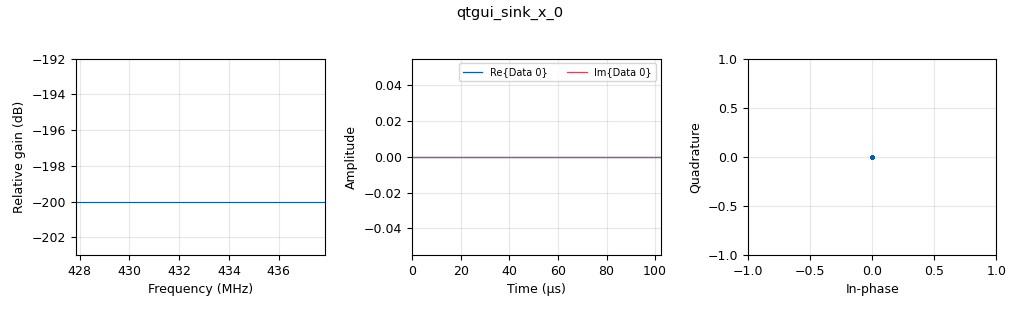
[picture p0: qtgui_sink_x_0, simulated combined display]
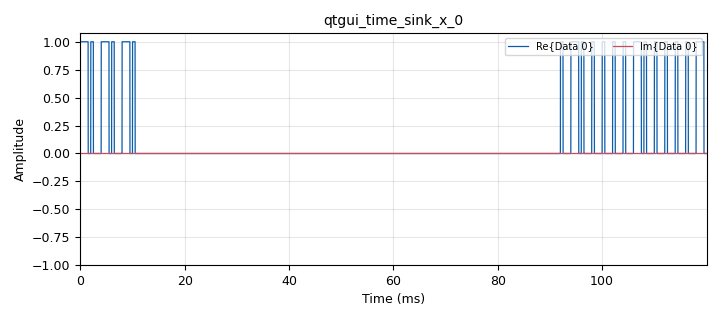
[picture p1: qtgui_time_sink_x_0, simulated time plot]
options:
  parameters:
    category: Custom
    generate_options: qt_gui
    id: transmit
    output_language: python
  states: {}

blocks:
- name: baseband_freq
  id: variable
  parameters:
    value: '500'
  states: {}
- name: carrier_freq
  id: variable
  parameters:
    value: 432.867e6
  states: {}
- name: packet
  id: variable
  parameters:
    value: '"0100000100000101000101010"'
  states: {}
- name: samp_rate
  id: variable
  parameters:
    value: 10e6
  states: {}
- name: samples_per_symbol
  id: variable
  parameters:
    value: int (samp_rate / baseband_freq)
  states: {}
- name: spacing
  id: variable
  parameters:
    value: '40'
  states: {}
- name: blocks_float_to_complex_0
  id: blocks_float_to_complex
  parameters: {}
  states: {}
- name: blocks_moving_average_xx_0
  id: blocks_moving_average_xx
  parameters:
    length: int(samples_per_symbol / 4)
    max_iter: '4000'
    scale: '1'
    type: float
  states: {}
- name: blocks_multiply_const_vxx_0
  id: blocks_multiply_const_vxx
  parameters:
    const: '1'
    type: float
  states: {}
- name: blocks_throttle_0
  id: blocks_throttle
  parameters:
    samples_per_second: samp_rate
    type: complex
  states: {}
- name: blocks_uchar_to_float_0
  id: blocks_uchar_to_float
  parameters: {}
  states: {}
- name: blocks_unpack_k_bits_bb_0
  id: blocks_unpack_k_bits_bb
  parameters:
    k: '4'
  states: {}
- name: blocks_vector_source_x_0
  id: blocks_vector_source_x
  parameters:
    repeat: 'True'
    type: byte
    vector: '[ int (x) for x in packet ] + [ 2 ] * spacing'
  states: {}
- name: digital_map_bb_0
  id: digital_map_bb
  parameters:
    map: '[0x8, 0xE, 0x0]'
  states: {}
- name: osmosdr_sink_0
  id: osmosdr_sink
  parameters:
    args: hackrf=0
    bb_gain0: '20'
    freq0: carrier_freq
    gain0: '10'
    if_gain0: '20'
    sample_rate: samp_rate
    sync: sync
    type: fc32
  states: {}
- name: qtgui_sink_x_0
  id: qtgui_sink_x
  parameters:
    bw: samp_rate
    fc: carrier_freq
    fftsize: '1024'
    showports: 'True'
    showrf: 'True'
    type: complex
    wintype: firdes.WIN_BLACKMAN_hARRIS
  states: {}
- name: qtgui_time_sink_x_0
  id: qtgui_time_sink_x
  parameters:
    ctrlpanel: 'True'
    label1: ''
    label2: ''
    size: '1200000'
    srate: samp_rate
    tr_level: '0.5'
    tr_mode: qtgui.TRIG_MODE_AUTO
    type: complex
  states: {}
- name: rational_resampler_xxx_0
  id: rational_resampler_xxx
  parameters:
    decim: '1'
    fbw: '4'
    interp: int(samples_per_symbol / 4)
    taps: '1'
    type: fff
  states: {}

connections:
- [blocks_float_to_complex_0, '0', blocks_throttle_0, '0']
- [blocks_float_to_complex_0, '0', osmosdr_sink_0, '0']
- [blocks_moving_average_xx_0, '0', blocks_multiply_const_vxx_0, '0']
- [blocks_multiply_const_vxx_0, '0', blocks_float_to_complex_0, '0']
- [blocks_throttle_0, '0', qtgui_sink_x_0, '0']
- [blocks_throttle_0, '0', qtgui_time_sink_x_0, '0']
- [blocks_uchar_to_float_0, '0', rational_resampler_xxx_0, '0']
- [blocks_unpack_k_bits_bb_0, '0', blocks_uchar_to_float_0, '0']
- [blocks_vector_source_x_0, '0', digital_map_bb_0, '0']
- [digital_map_bb_0, '0', blocks_unpack_k_bits_bb_0, '0']
- [rational_resampler_xxx_0, '0', blocks_moving_average_xx_0, '0']

metadata:
  file_format: 1
